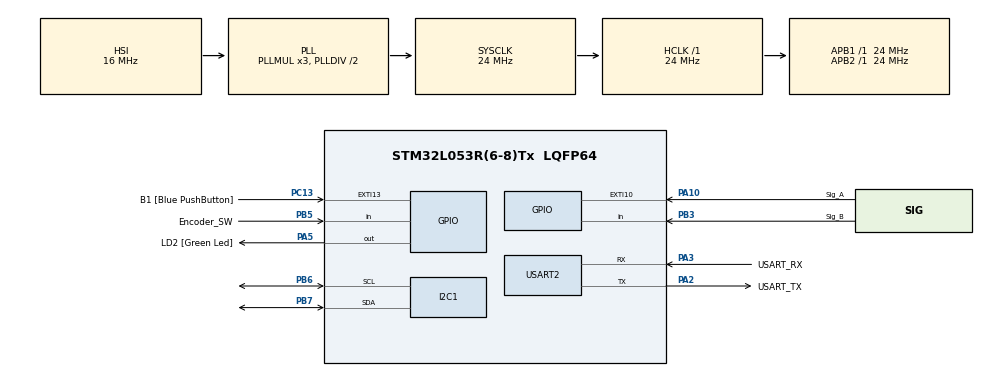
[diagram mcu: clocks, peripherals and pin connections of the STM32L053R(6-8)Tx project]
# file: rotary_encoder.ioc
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I2C1.Timing=0x00805C87
Mcu.Family=STM32L0
Mcu.Name=STM32L053R(6-8)Tx
Mcu.Package=LQFP64
NVIC.EXTI4_15_IRQn=true\:0\:0\:false\:false\:true\:true\:true\:true
PA10.GPIO_Label=Sig_A
PA10.GPIO_ModeDefaultEXTI=GPIO_MODE_IT_RISING_FALLING
PA10.Signal=GPXTI10
PA13.GPIO_Label=TMS
PA13.Mode=Serial_Wire
PA13.Signal=SYS_SWDIO
PA14.GPIO_Label=TCK
PA14.Mode=Serial_Wire
PA14.Signal=SYS_SWCLK
PA2.GPIO_Label=USART_TX
PA2.Mode=Asynchronous
PA2.Signal=USART2_TX
PA3.GPIO_Label=USART_RX
PA3.Mode=Asynchronous
PA3.Signal=USART2_RX
PA5.GPIO_Label=LD2 [Green Led]
PA5.Signal=GPIO_Output
PB3.GPIO_Label=Sig_B
PB3.Signal=GPIO_Input
PB5.GPIO_Label=Encoder_SW
PB5.GPIO_PuPd=GPIO_PULLUP
PB5.Signal=GPIO_Input
PB6.Mode=I2C
PB6.Signal=I2C1_SCL
PB7.Mode=I2C
PB7.Signal=I2C1_SDA
PC13.GPIO_Label=B1 [Blue PushButton]
PC13.GPIO_ModeDefaultEXTI=GPIO_MODE_IT_FALLING
PC13.Signal=GPXTI13
PC14-OSC32_IN.Mode=LSE-External-Oscillator
PC14-OSC32_IN.Signal=RCC_OSC32_IN
PC15-OSC32_OUT.Mode=LSE-External-Oscillator
PC15-OSC32_OUT.Signal=RCC_OSC32_OUT
PH0-OSC_IN.Mode=HSE-External-Clock-Source
PH0-OSC_IN.Signal=RCC_OSC_IN
PH1-OSC_OUT.Signal=RCC_OSC_OUT
ProjectManager.HeapSize=0x200
ProjectManager.StackSize=0x400
ProjectManager.TargetToolchain=STM32CubeIDE
RCC.AHBFreq_Value=24000000
RCC.APB1Freq_Value=24000000
RCC.APB1TimFreq_Value=24000000
RCC.APB2Freq_Value=24000000
RCC.APB2TimFreq_Value=24000000
RCC.HCLKFreq_Value=24000000
RCC.HSE_VALUE=8000000
RCC.HSI16_VALUE=16000000
RCC.HSI48_VALUE=48000000
RCC.HSI_VALUE=16000000
RCC.MSI_VALUE=2097000
RCC.SYSCLKFreq_VALUE=24000000
RCC.SYSCLKSource=RCC_SYSCLKSOURCE_PLLCLK
RCC.VCOOutputFreq_Value=48000000
USART2.VirtualMode-Asynchronous=VM_ASYNC
board=NUCLEO-L053R8

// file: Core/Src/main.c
/* USER CODE BEGIN Header */
/**
 ******************************************************************************
 * @file           : main.c
 * @brief          : Main program body
 ******************************************************************************
 * @attention
 *
 * Copyright (c) 2025 STMicroelectronics.
 * All rights reserved.
 *
 * This software is licensed under terms that can be found in the LICENSE file
 * in the root directory of this software component.
 * If no LICENSE file comes with this software, it is provided AS-IS.
 *
 ******************************************************************************
 */
/* USER CODE END Header */
#include "main.h"

/* USER CODE BEGIN Includes */
#include <stdio.h>
#include "rotary_encoder.h"
/* USER CODE END Includes */

I2C_HandleTypeDef hi2c1;

UART_HandleTypeDef huart2;

/* USER CODE BEGIN PV */
RotaryEncoder_t encoder;
int8_t pos;
uint8_t sw_state_new, sw_state_old;
uint32_t t0_i2c_scan;

/* USER CODE END PV */

void SystemClock_Config(void);
static void MX_GPIO_Init(void);
static void MX_USART2_UART_Init(void);
static void MX_I2C1_Init(void);
/* USER CODE BEGIN PFP */
void I2C_Scan(void);
/* USER CODE END PFP */

/* USER CODE BEGIN 0 */
// Function to send data over UART (for debugging)
int __io_putchar(int ch) {
	HAL_UART_Transmit(&huart2, (uint8_t*) &ch, 1, HAL_MAX_DELAY);
	return ch;
}
/* USER CODE END 0 */

int main(void) {

	/* MCU Configuration--------------------------------------------------------*/

	/* Reset of all peripherals, Initializes the Flash interface and the Systick. */
	HAL_Init();

	/* Configure the system clock */
	SystemClock_Config();

	/* Initialize all configured peripherals */
	MX_GPIO_Init();
	MX_USART2_UART_Init();
	MX_I2C1_Init();
	/* USER CODE BEGIN 2 */
	RotaryEncoder_Init(&encoder, GPIOA, GPIO_PIN_10, GPIOB, GPIO_PIN_3, GPIOB, GPIO_PIN_5);
	pos = 0;
	/* USER CODE END 2 */

	/* Infinite loop */
	while (1) {

		/* USER CODE BEGIN 3 */
		sw_state_new = RotaryEncoder_ReadSwitch(&encoder);
		if (sw_state_old == GPIO_PIN_RESET && sw_state_new == GPIO_PIN_SET) {
			printf("Button Pressed!\n");
		}
		sw_state_old = sw_state_new;

		if (encoder.direction != ROTARY_NONE) {
			printf("Encoder Direction: %s\n",
					encoder.direction == ROTARY_CW ? "CW" : "CCW");
			if (encoder.direction == ROTARY_CW) {
				if (++pos > 5)
					pos = 5;
				encoder.direction = ROTARY_NONE;
			} else {
				if (--pos < 0)
					pos = 0;
				encoder.direction = ROTARY_NONE;
			}
			printf("Encoder Pos: %d\n", pos);
		}
		if(HAL_GetTick() > t0_i2c_scan){
			t0_i2c_scan = HAL_GetTick() + 5000;
			I2C_Scan();
		}
		HAL_Delay(50);	//debounching
	}
	/* USER CODE END 3 */
}

void SystemClock_Config(void) {
	RCC_OscInitTypeDef RCC_OscInitStruct = { 0 };
	RCC_ClkInitTypeDef RCC_ClkInitStruct = { 0 };
	RCC_PeriphCLKInitTypeDef PeriphClkInit = { 0 };

	/** Configure the main internal regulator output voltage
	 */
	__HAL_PWR_VOLTAGESCALING_CONFIG(PWR_REGULATOR_VOLTAGE_SCALE1);

	/** Initializes the RCC Oscillators according to the specified parameters
	 * in the RCC_OscInitTypeDef structure.
	 */
	RCC_OscInitStruct.OscillatorType = RCC_OSCILLATORTYPE_HSI;
	RCC_OscInitStruct.HSIState = RCC_HSI_ON;
	RCC_OscInitStruct.HSICalibrationValue = RCC_HSICALIBRATION_DEFAULT;
	RCC_OscInitStruct.PLL.PLLState = RCC_PLL_ON;
	RCC_OscInitStruct.PLL.PLLSource = RCC_PLLSOURCE_HSI;
	RCC_OscInitStruct.PLL.PLLMUL = RCC_PLLMUL_3;
	RCC_OscInitStruct.PLL.PLLDIV = RCC_PLLDIV_2;
	if (HAL_RCC_OscConfig(&RCC_OscInitStruct) != HAL_OK) {
		Error_Handler();
	}

	/** Initializes the CPU, AHB and APB buses clocks
	 */
	RCC_ClkInitStruct.ClockType = RCC_CLOCKTYPE_HCLK | RCC_CLOCKTYPE_SYSCLK
			| RCC_CLOCKTYPE_PCLK1 | RCC_CLOCKTYPE_PCLK2;
	RCC_ClkInitStruct.SYSCLKSource = RCC_SYSCLKSOURCE_PLLCLK;
	RCC_ClkInitStruct.AHBCLKDivider = RCC_SYSCLK_DIV1;
	RCC_ClkInitStruct.APB1CLKDivider = RCC_HCLK_DIV1;
	RCC_ClkInitStruct.APB2CLKDivider = RCC_HCLK_DIV1;

	if (HAL_RCC_ClockConfig(&RCC_ClkInitStruct, FLASH_LATENCY_1) != HAL_OK) {
		Error_Handler();
	}
	PeriphClkInit.PeriphClockSelection = RCC_PERIPHCLK_USART2
			| RCC_PERIPHCLK_I2C1;
	PeriphClkInit.Usart2ClockSelection = RCC_USART2CLKSOURCE_PCLK1;
	PeriphClkInit.I2c1ClockSelection = RCC_I2C1CLKSOURCE_PCLK1;
	if (HAL_RCCEx_PeriphCLKConfig(&PeriphClkInit) != HAL_OK) {
		Error_Handler();
	}
}

static void MX_I2C1_Init(void) {

	hi2c1.Instance = I2C1;
	hi2c1.Init.Timing = 0x00506682;
	hi2c1.Init.OwnAddress1 = 0;
	hi2c1.Init.AddressingMode = I2C_ADDRESSINGMODE_7BIT;
	hi2c1.Init.DualAddressMode = I2C_DUALADDRESS_DISABLE;
	hi2c1.Init.OwnAddress2 = 0;
	hi2c1.Init.OwnAddress2Masks = I2C_OA2_NOMASK;
	hi2c1.Init.GeneralCallMode = I2C_GENERALCALL_DISABLE;
	hi2c1.Init.NoStretchMode = I2C_NOSTRETCH_DISABLE;
	if (HAL_I2C_Init(&hi2c1) != HAL_OK) {
		Error_Handler();
	}

	/** Configure Analogue filter
	 */
	if (HAL_I2CEx_ConfigAnalogFilter(&hi2c1, I2C_ANALOGFILTER_ENABLE)
			!= HAL_OK) {
		Error_Handler();
	}

	/** Configure Digital filter
	 */
	if (HAL_I2CEx_ConfigDigitalFilter(&hi2c1, 0) != HAL_OK) {
		Error_Handler();
	}

}

static void MX_USART2_UART_Init(void) {

	huart2.Instance = USART2;
	huart2.Init.BaudRate = 115200;
	huart2.Init.WordLength = UART_WORDLENGTH_8B;
	huart2.Init.StopBits = UART_STOPBITS_1;
	huart2.Init.Parity = UART_PARITY_NONE;
	huart2.Init.Mode = UART_MODE_TX_RX;
	huart2.Init.HwFlowCtl = UART_HWCONTROL_NONE;
	huart2.Init.OverSampling = UART_OVERSAMPLING_16;
	huart2.Init.OneBitSampling = UART_ONE_BIT_SAMPLE_DISABLE;
	huart2.AdvancedInit.AdvFeatureInit = UART_ADVFEATURE_NO_INIT;
	if (HAL_UART_Init(&huart2) != HAL_OK) {
		Error_Handler();
	}

}

static void MX_GPIO_Init(void) {
	GPIO_InitTypeDef GPIO_InitStruct = { 0 };

	/* GPIO Ports Clock Enable */
	__HAL_RCC_GPIOC_CLK_ENABLE();
	__HAL_RCC_GPIOH_CLK_ENABLE();
	__HAL_RCC_GPIOA_CLK_ENABLE();
	__HAL_RCC_GPIOB_CLK_ENABLE();

	/*Configure GPIO pin Output Level */
	HAL_GPIO_WritePin(LD2_GPIO_Port, LD2_Pin, GPIO_PIN_RESET);

	/*Configure GPIO pin : B1_Pin */
	GPIO_InitStruct.Pin = B1_Pin;
	GPIO_InitStruct.Mode = GPIO_MODE_IT_FALLING;
	GPIO_InitStruct.Pull = GPIO_NOPULL;
	HAL_GPIO_Init(B1_GPIO_Port, &GPIO_InitStruct);

	/*Configure GPIO pin : LD2_Pin */
	GPIO_InitStruct.Pin = LD2_Pin;
	GPIO_InitStruct.Mode = GPIO_MODE_OUTPUT_PP;
	GPIO_InitStruct.Pull = GPIO_NOPULL;
	GPIO_InitStruct.Speed = GPIO_SPEED_FREQ_LOW;
	HAL_GPIO_Init(LD2_GPIO_Port, &GPIO_InitStruct);

	/*Configure GPIO pin : Sig_A_Pin */
	GPIO_InitStruct.Pin = Sig_A_Pin;
	GPIO_InitStruct.Mode = GPIO_MODE_IT_RISING;
	GPIO_InitStruct.Pull = GPIO_NOPULL;
	HAL_GPIO_Init(Sig_A_GPIO_Port, &GPIO_InitStruct);

	/*Configure GPIO pin : Sig_B_Pin */
	GPIO_InitStruct.Pin = Sig_B_Pin;
	GPIO_InitStruct.Mode = GPIO_MODE_INPUT;
	GPIO_InitStruct.Pull = GPIO_NOPULL;
	HAL_GPIO_Init(Sig_B_GPIO_Port, &GPIO_InitStruct);

	/*Configure GPIO pin : Encoder_SW_Pin */
	GPIO_InitStruct.Pin = Encoder_SW_Pin;
	GPIO_InitStruct.Mode = GPIO_MODE_INPUT;
	GPIO_InitStruct.Pull = GPIO_PULLUP;
	HAL_GPIO_Init(Encoder_SW_GPIO_Port, &GPIO_InitStruct);

	/* EXTI interrupt init*/
	HAL_NVIC_SetPriority(EXTI4_15_IRQn, 0, 0);
	HAL_NVIC_EnableIRQ(EXTI4_15_IRQn);

}

/* USER CODE BEGIN 4 */
// I2C Scanner Function using HAL_I2C_Master_Transmit
void I2C_Scan() {
	printf("\r\nStarting I2C Scan...\r\n");

	uint8_t dummy_data = 0x00; // Dummy data for transmission

	for (uint8_t address = 1; address < 127; address++) {
		uint8_t i2cAddress = address << 1; // Convert to 8-bit format for HAL

		HAL_StatusTypeDef result = HAL_I2C_Master_Transmit(&hi2c1, i2cAddress,
				&dummy_data, 1, 10);

		if (result == HAL_OK) {
			printf("I2C device found at address: 0x%02X\r\n", address);
		}
	}
	printf("I2C Scan Complete.\r\n");
}
/* USER CODE END 4 */

void Error_Handler(void) {
	__disable_irq();
	while (1) {
	}
}
